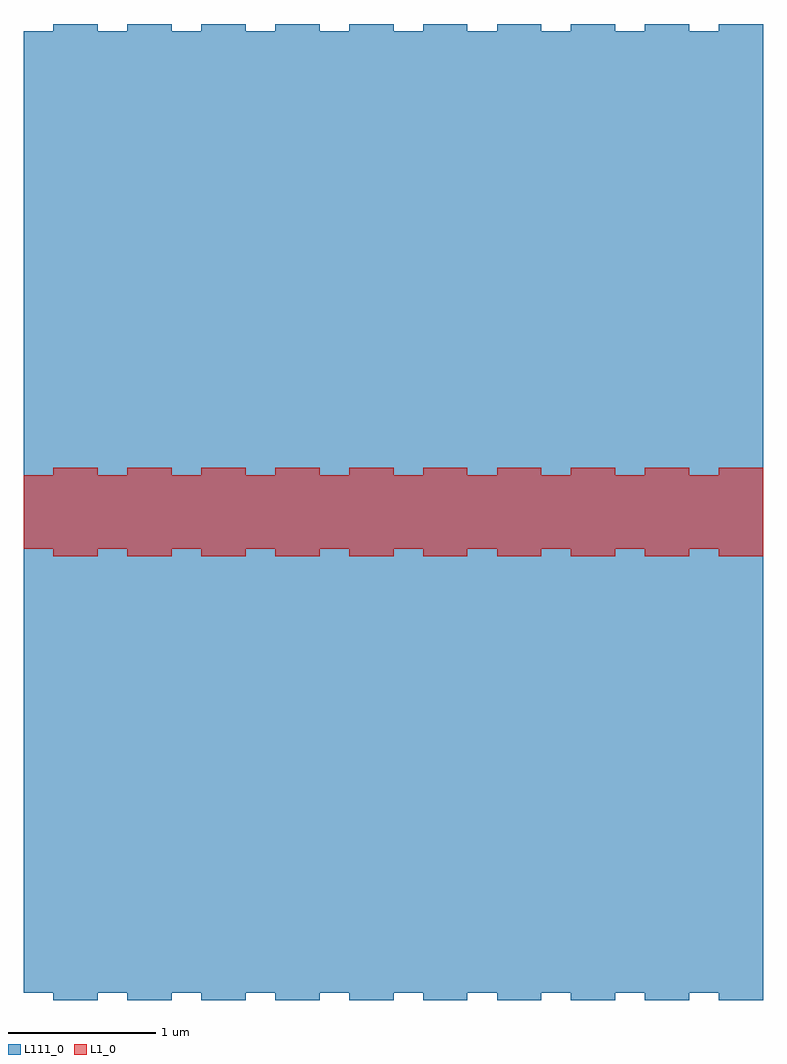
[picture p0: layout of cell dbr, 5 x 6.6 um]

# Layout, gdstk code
import gdstk
lib = gdstk.Library(unit=1e-6, precision=1e-09)
def R(c, l, rs):  # rectangles x0, y0, x1, y1
    for r in rs: c.add(gdstk.rectangle(r[:2], r[2:], *l))
def A(c, l, x, y, w, h, nx, ny, dx, dy):  # array of equal rectangles
    R(c, l, [(x+i*dx, y+j*dy, x+i*dx+w, y+j*dy+h) for i in range(nx) for j in range(ny)])
L1_0 = (1, 0)
L111_0 = (111, 0)

dbr = lib.new_cell('dbr')
A(dbr, L1_0, 0.2, -0.3, 0.3, 0.6, 10, 1, 0.5, 0)
A(dbr, L1_0, 0, -0.25, 0.2, 0.5, 10, 1, 0.5, 0)
A(dbr, L111_0, 0.2, -3.3, 0.3, 6.6, 10, 1, 0.5, 0)
A(dbr, L111_0, 0, -3.25, 0.2, 6.5, 10, 1, 0.5, 0)

lib.write_gds('dbr.gds')
